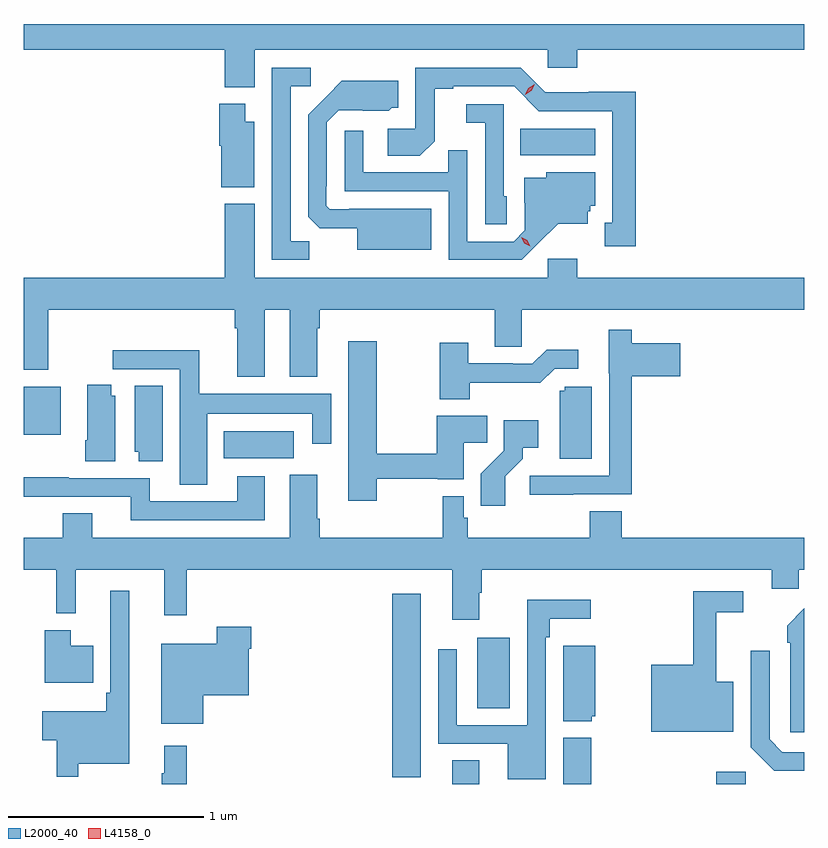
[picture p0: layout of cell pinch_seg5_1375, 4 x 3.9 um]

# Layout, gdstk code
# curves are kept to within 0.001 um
import gdstk
lib = gdstk.Library(unit=1e-6, precision=1e-09)
def R(c, l, rs):  # rectangles x0, y0, x1, y1
    for r in rs: c.add(gdstk.rectangle(r[:2], r[2:], *l))
def P(c, l, *ps):  # polygons
    for p in ps: c.add(gdstk.Polygon(p, *l))
L2000_40 = (2000, 40)
L4158_0 = (4158, 0)

pinch_seg5_1375 = lib.new_cell('pinch_seg5_1375')
R(pinch_seg5_1375, L2000_40, [(167.432,911.605,167.572,911.726), (168.002,911.605,168.146,911.842), (168.785,911.605,168.936,911.668), (167.126,911.64,167.272,912.58), (167.561,911.992,167.728,912.355), (166.262,913.274,166.621,913.414), (165.237,913.394,165.427,913.642), (167.782,914.828,168.166,914.962)])
P(pinch_seg5_1375, L2000_40, [(166.42,915.368),(167.922,915.368),(167.922,915.275),(168.074,915.275),(168.074,915.368),(169.237,915.368),(169.237,915.5),(165.237,915.5),(165.237,915.368),(166.268,915.368),(166.268,915.176),(166.42,915.176)],
  [(168.373,915.152),(168.132,915.152),(168.132,915.15),(167.91,915.15),(167.784,915.276),(167.244,915.276),(167.244,914.964),(167.103,914.964),(167.103,914.824),(167.267,914.824),(167.343,914.9),(167.343,915.168),(167.437,915.168),(167.437,915.18),(167.751,915.18),(167.877,915.054),(168.254,915.054),(168.254,914.481),(168.215,914.481),(168.215,914.361),(168.373,914.361)],
  [(166.701,914.387),(166.605,914.387),(166.605,915.18),(166.708,915.18),(166.708,915.276),(166.509,915.276),(166.509,914.292),(166.701,914.292)],
  [(167.326,914.554),(166.906,914.554),(166.906,914.55),(166.806,914.55),(166.788,914.568),(166.788,914.668),(166.791,914.668),(166.791,914.997),(166.851,915.057),(167.108,915.056),(167.124,915.072),(167.155,915.072),(167.155,915.208),(166.867,915.208),(166.695,915.034),(166.695,914.512),(166.754,914.453),(166.946,914.453),(166.946,914.342),(167.326,914.342)],
  [(166.417,914.998),(166.372,914.998),(166.372,915.091),(166.238,915.091),(166.238,914.877),(166.25,914.877),(166.25,914.663),(166.417,914.663)],
  [(167.712,914.616),(167.697,914.616),(167.697,915.09),(167.505,915.09),(167.505,914.993),(167.601,914.993),(167.601,914.473),(167.712,914.473)],
  [(167.872,914.375),(167.975,914.477),(168.127,914.477),(168.127,914.541),(168.141,914.541),(168.141,914.568),(168.166,914.568),(168.166,914.74),(167.916,914.74),(167.916,914.713),(167.801,914.713),(167.801,914.584),(167.805,914.584),(167.805,914.442),(167.748,914.385),(167.511,914.385),(167.511,914.852),(167.413,914.852),(167.413,914.739),(166.977,914.739),(166.977,914.953),(166.881,914.953),(166.881,914.643),(167.415,914.643),(167.415,914.292),(167.788,914.292)],
  [(166.471,914.036),(166.601,914.036),(166.601,913.691),(166.741,913.691),(166.741,913.94),(166.754,913.94),(166.754,914.036),(167.651,914.036),(167.651,913.846),(167.79,913.846),(167.79,914.036),(169.237,914.036),(169.237,914.2),(168.074,914.2),(168.074,914.296),(167.922,914.296),(167.922,914.2),(166.42,914.2),(166.42,914.578),(166.268,914.578),(166.268,914.2),(165.237,914.2),(165.237,913.727),(165.363,913.727),(165.363,914.036),(166.319,914.036),(166.319,913.94),(166.331,913.94),(166.331,913.691),(166.471,913.691)],
  [(168.053,913.089),(168.353,913.089),(168.353,913.694),(168.601,913.694),(168.601,913.864),(168.353,913.864),(168.353,913.933),(168.236,913.933),(168.236,913.71),(168.237,913.71),(168.237,913.185),(167.829,913.185),(167.829,913.087),(168.053,913.087)],
  [(167.046,913.17),(167.358,913.17),(167.358,913.166),(167.491,913.166),(167.491,913.354),(167.612,913.354),(167.612,913.492),(167.354,913.492),(167.354,913.298),(167.046,913.298),(167.046,913.873),(166.901,913.873),(166.901,913.056),(167.046,913.056)],
  [(167.523,913.662),(167.885,913.661),(167.958,913.734),(168.079,913.734),(168.079,913.831),(167.917,913.831),(167.844,913.758),(167.744,913.758),(167.744,913.761),(167.515,913.761),(167.515,913.867),(167.368,913.867),(167.368,913.577),(167.523,913.577)],
  [(166.177,913.502),(166.716,913.502),(166.716,913.35),(166.812,913.35),(166.812,913.606),(166.136,913.606),(166.136,913.829),(165.693,913.829),(165.693,913.731),(166.037,913.731),(166.037,913.138),(166.177,913.138)],
  [(165.706,913.596),(165.685,913.596),(165.685,913.65),(165.563,913.65),(165.563,913.366),(165.551,913.366),(165.551,913.258),(165.706,913.258)],
  [(165.949,913.646),(165.806,913.646),(165.806,913.308),(165.827,913.308),(165.827,913.258),(165.949,913.258)],
  [(168.148,913.641),(168.009,913.641),(168.009,913.62),(167.984,913.62),(167.984,913.272),(168.148,913.272)],
  [(167.704,913.183),(167.794,913.273),(167.794,913.328),(167.875,913.328),(167.875,913.468),(167.697,913.468),(167.697,913.313),(167.578,913.194),(167.578,913.032),(167.704,913.032)],
  [(167.572,912.584),(167.585,912.584),(167.585,912.704),(169.07,912.704),(169.07,912.606),(169.209,912.606),(169.209,912.704),(169.237,912.704),(169.237,912.868),(168.302,912.868),(168.302,913.004),(168.137,913.004),(168.137,912.868),(167.513,912.868),(167.513,912.969),(167.493,912.969),(167.493,913.081),(167.385,913.081),(167.385,912.868),(166.754,912.868),(166.754,912.964),(166.741,912.964),(166.741,913.189),(166.601,913.189),(166.601,912.868),(165.589,912.868),(165.589,912.992),(165.437,912.992),(165.437,912.868),(165.237,912.868),(165.237,912.704),(165.403,912.704),(165.403,912.479),(165.503,912.479),(165.503,912.704),(165.956,912.704),(165.956,912.471),(166.073,912.471),(166.073,912.704),(167.432,912.704),(167.432,912.447),(167.572,912.447)],
  [(166.471,913.183),(166.331,913.183),(166.331,913.053),(165.883,913.053),(165.883,913.173),(165.467,913.173),(165.467,913.176),(165.237,913.176),(165.237,913.077),(165.785,913.077),(165.785,912.957),(166.471,912.957)],
  [(165.517,911.708),(165.778,911.708),(165.778,912.595),(165.681,912.595),(165.681,912.073),(165.661,912.073),(165.661,911.977),(165.332,911.977),(165.332,911.83),(165.406,911.83),(165.406,911.643),(165.517,911.643)],
  [(168.874,912.13),(168.785,912.13),(168.785,912.486),(168.925,912.486),(168.925,912.594),(168.667,912.594),(168.667,912.217),(168.452,912.217),(168.452,911.873),(168.874,911.873)],
  [(167.913,912.356),(167.933,912.356),(167.933,912.452),(168.142,912.452),(168.142,912.55),(167.817,912.55),(167.817,911.907),(167.457,911.907),(167.457,912.295),(167.361,912.295),(167.361,911.811),(167.717,911.811),(167.717,911.63),(167.913,911.63)],
  [(169.237,912.505),(169.149,912.417),(169.149,912.329),(169.164,912.329),(169.164,911.871),(169.237,911.871)],
  [(166.156,912.059),(166.39,912.059),(166.39,912.299),(166.403,912.299),(166.403,912.412),(166.225,912.412),(166.225,912.325),(165.941,912.325),(165.941,911.915),(166.156,911.915)],
  [(165.592,912.313),(165.478,912.313),(165.478,912.394),(165.344,912.394),(165.344,912.125),(165.592,912.125)],
  [(168.147,911.952),(168.166,911.952),(168.166,912.313),(168.002,912.313),(168.002,911.927),(168.147,911.927)],
  [(169.237,911.769),(169.125,911.769),(169.059,911.835),(169.059,912.289),(168.963,912.289),(168.963,911.793),(169.084,911.672),(169.237,911.672)],
  [(166.073,911.8),(165.956,911.8),(165.956,911.66),(165.945,911.66),(165.945,911.605),(166.073,911.605)])
P(pinch_seg5_1375, L4158_0, [(167.806,915.138),(167.806,915.139),(167.823,915.171),(167.855,915.191),(167.855,915.191),(167.855,915.19),(167.838,915.158),(167.806,915.138)],
  [(167.834,914.361),(167.803,914.377),(167.786,914.407),(167.786,914.407),(167.786,914.407),(167.817,914.391),(167.834,914.362),(167.834,914.361)])

lib.write_gds('pinch_seg5_1375.gds')
